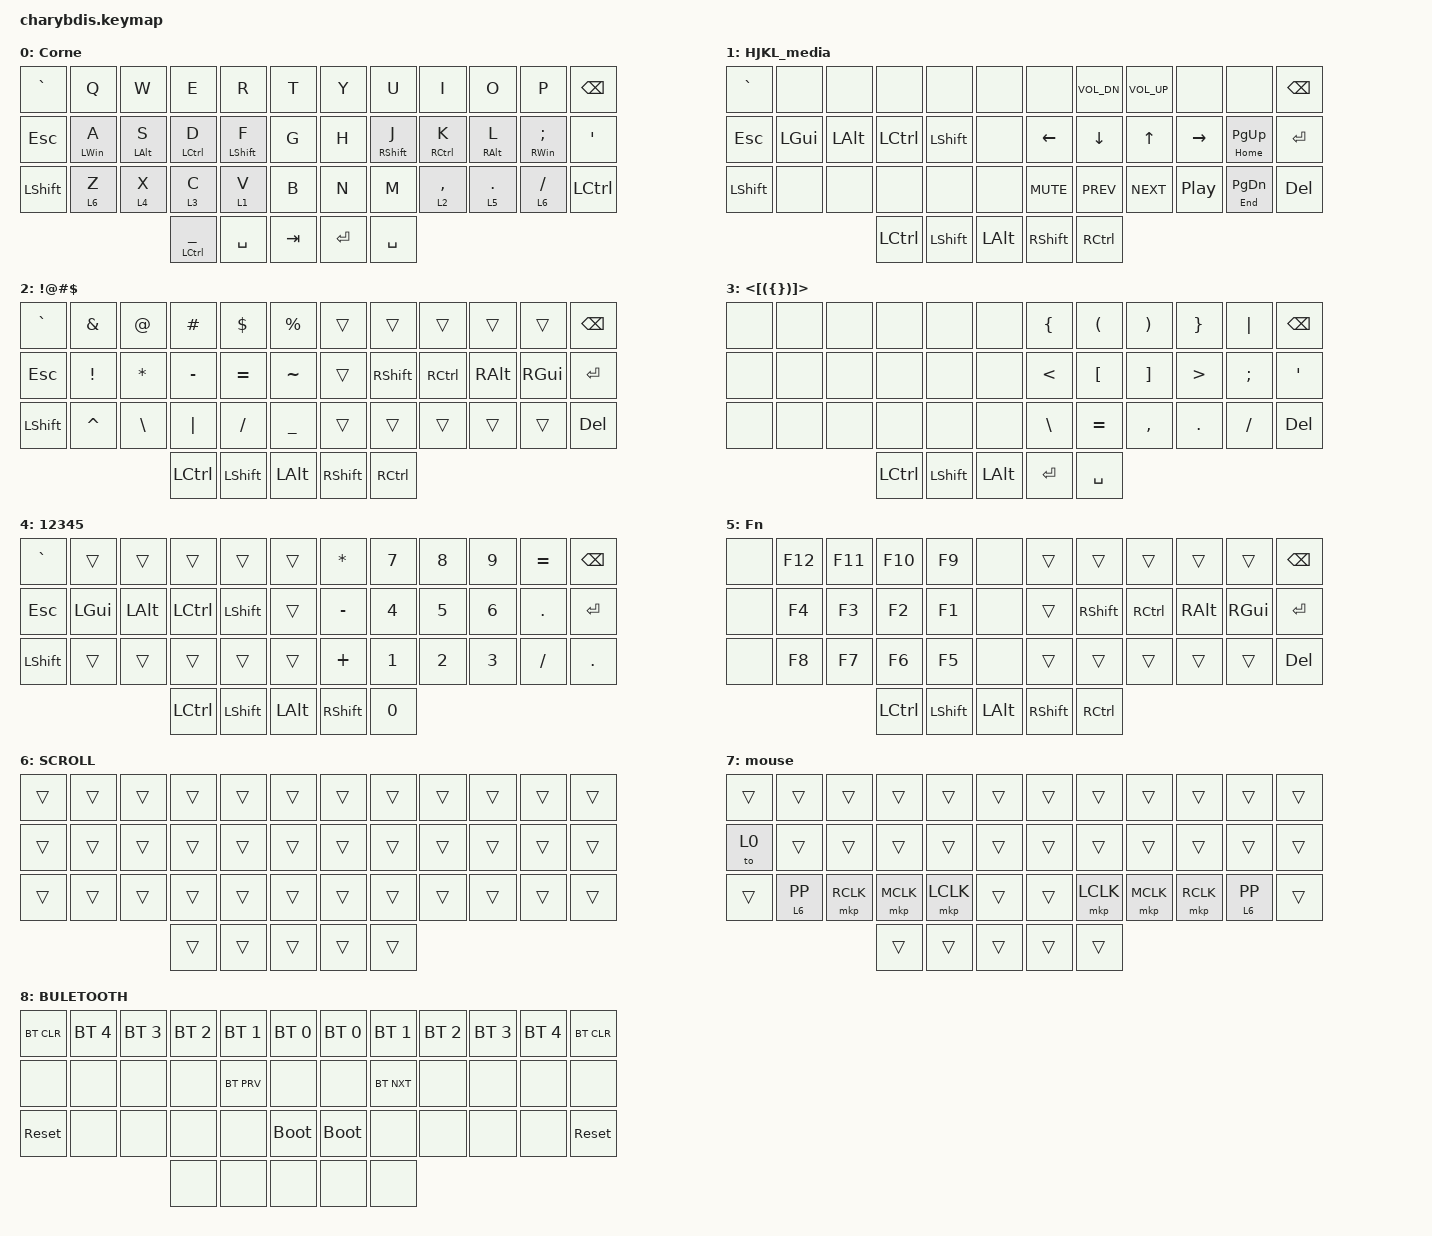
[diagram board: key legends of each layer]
#include <behaviors/mouse_keys.dtsi>
#include <dt-bindings/zmk/mouse.h>
#include <behaviors.dtsi>
#include <dt-bindings/zmk/bt.h>
#include <dt-bindings/zmk/keys.h>

#define U_TAPPING_TERM 200

&mt {
    flavor = "tap-preferred";
    quick-tap-ms = <250>;
    tapping-term-ms = <220>;
};

/ {
    chosen { zmk,matrix_transform = &default_transform; };
};

/ {
    combos {
        compatible = "zmk,combos";

        combo_back {
            bindings = <&mkp MB4>;
            key-positions = <31 30>;
            layers = <0>;
            timeout-ms = <60>;
            require-prior-idle-ms = <30>;
        };

        combo_forward {
            bindings = <&mkp MB5>;
            key-positions = <29 28>;
            layers = <0>;
            timeout-ms = <60>;
            require-prior-idle-ms = <30>;
        };

        combo_middle-right {
            bindings = <&mkp MB3>;
            key-positions = <31 33>;
            layers = <0>;
            timeout-ms = <60>;
            require-prior-idle-ms = <30>;
        };

        combo_middle-left {
            bindings = <&mkp MB3>;
            key-positions = <26 28>;
            layers = <0>;
            timeout-ms = <60>;
            require-prior-idle-ms = <30>;
        };

        combo_delete {
            bindings = <&kp DELETE>;
            key-positions = <34 35>;
            layers = <0>;
            timeout-ms = <60>;
            require-prior-idle-ms = <30>;
        };

        combo_lblu {
            bindings = <&tog 8>;
            key-positions = <24 25 26>;
        };

        combo_rblu {
            bindings = <&tog 8>;
            key-positions = <33 34 35>;
        };

        combo_f9 {
            bindings = <&kp F8>;
            key-positions = <38 39>;
        };

        combo_left_lclk {
            bindings = <&mkp LCLK>;
            key-positions = <27 28>;
            timeout-ms = <60>;
            require-prior-idle-ms = <30>;
            layers = <0>;
        };

        combo_right_lclk {
            bindings = <&mkp LCLK>;
            key-positions = <32 31>;
            timeout-ms = <60>;
            require-prior-idle-ms = <30>;
            layers = <0>;
        };

        combo_left_rclk {
            bindings = <&mkp RCLK>;
            key-positions = <26 27>;
            layers = <0>;
            timeout-ms = <60>;
            require-prior-idle-ms = <30>;
        };

        combo_right_rclk {
            bindings = <&mkp RCLK>;
            key-positions = <32 33>;
            timeout-ms = <60>;
            require-prior-idle-ms = <30>;
            layers = <0>;
        };

        combo_colon {
            bindings = <&kp COLON>;
            key-positions = <16 22>;
            timeout-ms = <60>;
            require-prior-idle-ms = <30>;
            layers = <0>;
        };

        combo_win_space {
            bindings = <&kp LG(SPACE)>;
            key-positions = <37 40>;
            layers = <0>;
        };

        combo_left_bracket_quotation {
            bindings = <&left_bracket_and_quotation>;
            key-positions = <16 14>;
            layers = <0>;
        };

        combo_quotation_right_bracket {
            bindings = <&quotation_and_right_bracket>;
            key-positions = <19 21>;
            layers = <0>;
        };

        combo_arraw {
            bindings = <&arraw>;
            key-positions = <15 16>;
            layers = <2>;
        };

        combo_arraw_eq {
            bindings = <&arraw_eq>;
            key-positions = <3 4>;
            layers = <2>;
        };

        combo_enter {
            bindings = <&kp ENTER>;
            key-positions = <23 22>;
            layers = <0>;
        };

        combo_bs {
            bindings = <&kp BACKSPACE>;
            key-positions = <1 0>;
            layers = <0>;
        };

        combo_left_enter {
            bindings = <&kp ENTER>;
            key-positions = <12 13>;
            layers = <0>;
        };

        combo_left_del {
            bindings = <&kp DEL>;
            key-positions = <25 24>;
            layers = <0>;
        };

        combo_dollar_combo {
            bindings = <&kp DOLLAR>;
            key-positions = <31 4>;
            layers = <0>;
            timeout-ms = <60>;
            require-prior-idle-ms = <30>;
        };

        combo_ctrl_f19 {
            bindings = <&kp LC(F19)>;
            key-positions = <16 17>;
            layers = <0>;
            timeout-ms = <60>;
            require-prior-idle-ms = <30>;
        };

        combo_ctrl_f20 {
            bindings = <&kp LC(F20)>;
            key-positions = <4 5>;
            layers = <0>;
        };

        combo_minus {
            bindings = <&kp MINUS>;
            key-positions = <32 15>;
            layers = <0>;
        };

        combo_equal {
            bindings = <&kp EQUAL>;
            key-positions = <32 16>;
            layers = <0>;
        };
    };

    macros {
        macro_e_s: macro_e_s {
            compatible = "zmk,behavior-macro";
            #binding-cells = <0>;
            bindings = <&kp E &kp S>;
            label = "macro_e_s";
        };

        macro_l_i: macro_l_i {
            compatible = "zmk,behavior-macro";
            #binding-cells = <0>;
            bindings = <&kp L &kp I>;
            label = "MACRO_L_I";
        };

        left_bracket_and_quotation: left_bracket_and_quotation {
            compatible = "zmk,behavior-macro";
            #binding-cells = <0>;
            bindings = <&kp LEFT_BRACKET &kp SQT>;
            label = "LEFT_BRACKET_AND_QUOTATION";
        };

        quotation_and_right_bracket: quotation_and_right_bracket {
            compatible = "zmk,behavior-macro";
            #binding-cells = <0>;
            bindings = <&kp SQT &kp RIGHT_BRACKET>;
            label = "QUOTATION_AND_RIGHT_BRACKET";
        };

        arraw: arraw {
            compatible = "zmk,behavior-macro";
            #binding-cells = <0>;
            bindings = <&kp MINUS &kp GREATER_THAN>;
            label = "ARRAW";
        };

        arraw_eq: arraw_eq {
            compatible = "zmk,behavior-macro";
            #binding-cells = <0>;
            bindings = <&kp EQUAL &kp GREATER_THAN>;
            label = "ARRAW_EQ";
        };
    };

    behaviors {
        l_s_behavior: l_s_behavior {
            compatible = "zmk,behavior-hold-tap";
            label = "L_S_BEHAVIOR";
            bindings = <&mo>, <&kp>;

            #binding-cells = <2>;
            hold-trigger-key-positions = <0 1 2 3 4 5 12 13 14 15 16 17 24 25 26 27 28 29>;
            flavor = "tap-preferred";
            tapping-term-ms = <220>;
            quick-tap-ms = <250>;
            retro-tap;
        };

        win_behavior: win_behavior {
            compatible = "zmk,behavior-hold-tap";
            label = "WIN_BEHAVIOR";
            bindings = <&kp>, <&kp>;

            #binding-cells = <2>;
            hold-trigger-key-positions = <13 22>;
            flavor = "tap-unless-interrupted";
            retro-tap;
            tapping-term-ms = <220>;
            quick-tap-ms = <250>;
        };
    };

    keymap {
        compatible = "zmk,keymap";

        BASE {
            bindings = <
&kp GRAVE       &kp Q       &kp W       &kp E                 &kp R         &kp T      &kp Y      &kp U         &kp I                  &kp O                &kp P          &kp BSPC
&kp ESC         &mt LWIN A  &mt LALT S  &mt LCTRL D           &mt LSHIFT F  &kp G      &kp H      &mt RSHIFT J  &mt RCTRL K            &mt RALT L           &mt RWIN SEMI  &kp APOS
&kp LEFT_SHIFT  &lt 6 Z     &lt 4 X     &lt 3 C               &lt 1 V       &kp B      &kp N      &kp M         &l_s_behavior 2 COMMA  &l_s_behavior 5 DOT  &lt 6 SLASH    &kp LCTRL
                                        &mt LCTRL UNDERSCORE  &kp SPACE     &kp TAB    &kp ENTER  &kp SPACE
            >;

            label = "Corne";
        };

        arrow_media {
            bindings = <
&kp GRAVE  &none     &none     &none      &none      &none       &none       &kp C_VOL_DN  &kp C_VOL_UP  &none      &none           &kp BSPC
&kp ESC    &kp LGUI  &kp LALT  &kp LCTRL  &kp LSHFT  &none       &kp LEFT    &kp DOWN      &kp UP        &kp RIGHT  &mt HOME PG_UP  &kp ENTER
&kp LSHFT  &none     &none     &none      &none      &none       &kp C_MUTE  &kp C_PREV    &kp C_NEXT    &kp C_PP   &mt END PG_DN   &kp DELETE
                               &kp LCTRL  &kp LSHFT  &kp LALT    &kp RSHFT   &kp RCTRL
            >;

            label = "HJKL_media";
        };

        symbols {
            bindings = <
&kp GRAVE       &kp AMPERSAND    &kp AT_SIGN    &kp POUND  &kp DOLLAR  &kp PERCENT       &trans     &trans     &trans     &trans    &trans    &kp BSPC
&kp ESC         &kp EXCLAMATION  &kp ASTRK      &kp MINUS  &kp EQUAL   &kp TILDE         &trans     &kp RSHFT  &kp RCTRL  &kp RALT  &kp RGUI  &kp ENTER
&kp LEFT_SHIFT  &kp CARET        &kp BACKSLASH  &kp PIPE   &kp SLASH   &kp UNDERSCORE    &trans     &trans     &trans     &trans    &trans    &kp DELETE
                                                &kp LCTRL  &kp LSHFT   &kp LALT          &kp RSHFT  &kp RCTRL
            >;

            label = "!@#$";
        };

        brackets {
            bindings = <
&none  &none  &none  &none      &none      &none       &kp LEFT_BRACE  &kp LEFT_PARENTHESIS  &kp RIGHT_PARENTHESIS  &kp RIGHT_BRACE   &kp PIPE  &kp BSPC
&none  &none  &none  &none      &none      &none       &kp LESS_THAN   &kp LEFT_BRACKET      &kp RIGHT_BRACKET      &kp GREATER_THAN  &kp SEMI  &kp APOS
&none  &none  &none  &none      &none      &none       &kp BACKSLASH   &kp EQUAL             &kp COMMA              &kp DOT           &kp FSLH  &kp DEL
                     &kp LCTRL  &kp LSHFT  &kp LALT    &kp ENTER       &kp SPACE
            >;

            label = "<[({})]>";
        };

        number {
            bindings = <
&kp GRAVE  &trans    &trans    &trans     &trans     &trans      &kp ASTERISK  &kp N7  &kp N8  &kp N9  &kp EQUAL  &kp BSPC
&kp ESC    &kp LGUI  &kp LALT  &kp LCTRL  &kp LSHFT  &trans      &kp MINUS     &kp N4  &kp N5  &kp N6  &kp DOT    &kp ENTER
&kp LSHFT  &trans    &trans    &trans     &trans     &trans      &kp PLUS      &kp N1  &kp N2  &kp N3  &kp FSLH   &kp DOT
                               &kp LCTRL  &kp LSHFT  &kp LALT    &kp RSHFT     &kp N0
            >;

            label = "12345";
        };

        Fn {
            bindings = <
&none  &kp F12  &kp F11  &kp F10    &kp F9     &none       &trans     &trans     &trans     &trans    &trans    &kp BSPC
&none  &kp F4   &kp F3   &kp F2     &kp F1     &none       &trans     &kp RSHFT  &kp RCTRL  &kp RALT  &kp RGUI  &kp ENTER
&none  &kp F8   &kp F7   &kp F6     &kp F5     &none       &trans     &trans     &trans     &trans    &trans    &kp DELETE
                         &kp LCTRL  &kp LSHFT  &kp LALT    &kp RSHFT  &kp RCTRL
            >;

            label = "Fn";
        };

        SCROLL {
            bindings = <
&trans  &trans  &trans  &trans  &trans  &trans    &trans  &trans  &trans  &trans  &trans  &trans
&trans  &trans  &trans  &trans  &trans  &trans    &trans  &trans  &trans  &trans  &trans  &trans
&trans  &trans  &trans  &trans  &trans  &trans    &trans  &trans  &trans  &trans  &trans  &trans
                        &trans  &trans  &trans    &trans  &trans
            >;
        };

        mouse {
            bindings = <
&trans  &trans      &trans     &trans     &trans     &trans    &trans  &trans     &trans     &trans     &trans      &trans
&to 0   &trans      &trans     &trans     &trans     &trans    &trans  &trans     &trans     &trans     &trans      &trans
&trans  &lt 6 K_PP  &mkp RCLK  &mkp MCLK  &mkp LCLK  &trans    &trans  &mkp LCLK  &mkp MCLK  &mkp RCLK  &lt 6 K_PP  &trans
                               &trans     &trans     &trans    &trans  &trans
            >;

            label = "mouse";
        };

        BULETOOTH {
            bindings = <
&bt BT_CLR  &bt BT_SEL 4  &bt BT_SEL 3  &bt BT_SEL 2  &bt BT_SEL 1  &bt BT_SEL 0    &bt BT_SEL 0  &bt BT_SEL 1  &bt BT_SEL 2  &bt BT_SEL 3  &bt BT_SEL 4  &bt BT_CLR
&none       &none         &none         &none         &bt BT_PRV    &none           &none         &bt BT_NXT    &none         &none         &none         &none
&sys_reset  &none         &none         &none         &none         &bootloader     &bootloader   &none         &none         &none         &none         &sys_reset
                                        &none         &none         &none           &none         &none
            >;
        };
    };
};
